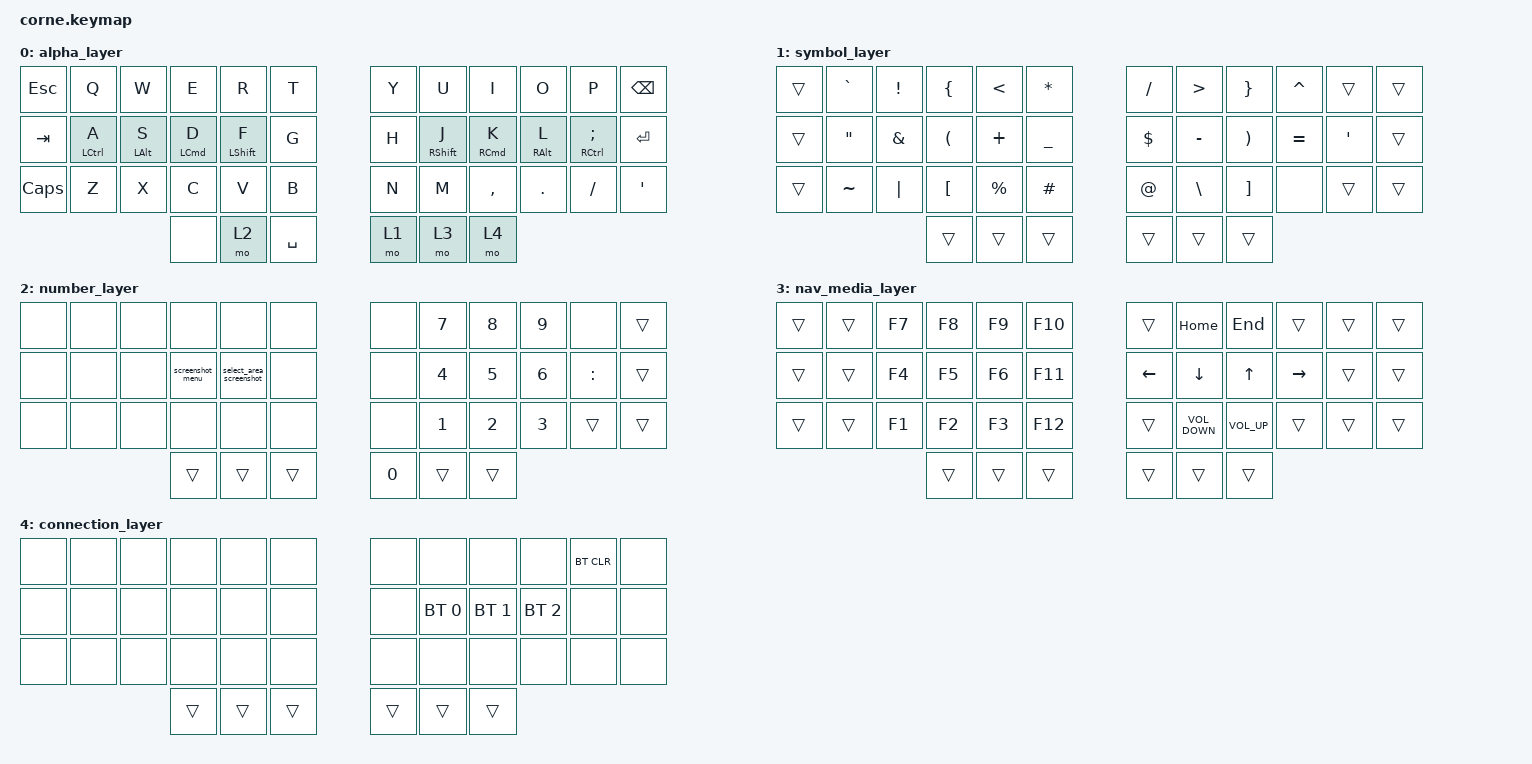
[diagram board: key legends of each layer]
/*
 * Copyright (c) 2020 The ZMK Contributors
 *
 * SPDX-License-Identifier: MIT
 */

#include <behaviors.dtsi>
#include <dt-bindings/zmk/bt.h>
#include <dt-bindings/zmk/keys.h>

#define ALPHA 0
#define SYMBOL 1
#define NUMBER 2
#define NAV 3
#define CONNECT 4

// corne keymap has 6 columns, the last column is optional and is not present on my keyboard
// each row starts with a &none and ends with a &none to reflect the fact that these columns do not exist

/ {
    behaviors {
        HMR: HMR {
            compatible = "zmk,behavior-hold-tap";
            label = "HMR";
            bindings = <&kp>, <&kp>;

            #binding-cells = <2>;
            hold-trigger-key-positions = <0 1 2 3 4 5 12 13 14 15 16 17 24 25 26 27 28 29 36 37 38 39 40 41>;
            hold-trigger-on-release;
            tapping-term-ms = <180>;
            quick-tap-ms = <130>;
            flavor = "balanced";
        };

        HML: HML {
            compatible = "zmk,behavior-hold-tap";
            label = "HML";
            bindings = <&kp>, <&kp>;

            #binding-cells = <2>;
            tapping-term-ms = <180>;
            quick-tap-ms = <130>;
            flavor = "balanced";
            hold-trigger-on-release;
            hold-trigger-key-positions = <6 7 8 9 10 11 18 19 20 21 22 23 30 31 32 33 34 35 39 40 41 36 37 38>;
        };
    };

    macros {
        select_area_screenshot: select_area_screenshot {
            compatible = "zmk,behavior-macro";
            #binding-cells = <0>;
            bindings =
                <&macro_press>,
                <&kp LEFT_COMMAND>,
                <&macro_press>,
                <&kp LEFT_SHIFT>,
                <&macro_tap>,
                <&kp NUMBER_4>,
                <&macro_release>,
                <&kp LEFT_SHIFT>,
                <&macro_release>,
                <&kp LEFT_COMMAND>;

            label = "SELECT_AREA_SCREENSHOT";
        };

        screenshot_menu: screenshot_menu {
            compatible = "zmk,behavior-macro";
            #binding-cells = <0>;
            bindings =
                <&macro_press>,
                <&kp LEFT_COMMAND>,
                <&macro_press>,
                <&kp LEFT_SHIFT>,
                <&macro_tap>,
                <&kp N5>,
                <&macro_release>,
                <&kp LEFT_SHIFT>,
                <&macro_release>,
                <&kp LEFT_COMMAND>;

            label = "SCREENSHOT_MENU";
        };
    };

    keymap {
        compatible = "zmk,keymap";

        alpha_layer {
            // ---------------------------------------------------------------------------------------------------------
            // |  Q  |  W  |  F  |  P  |  B  |                                           |  J  |  L  |  U  |  Y  | BSP |
            // |  A  |  R  |  S  |  T  |  G  |                                           |  M  |  N  |  E  |  I  |  O  |
            // |  Z  |  X  |  C  |  D  |  V  |                                           |  K  |  H  |  ,  |  .  | ENT |
            //                 |-----| SHIFT | NAVIGATION |                     | SYMBOL | SPACE |-----|
            // ---------------------------------------------------------------------------------------------------------

            bindings = <
&kp ESCAPE    &kp Q                &kp W            &kp E                &kp R              &kp T        &kp Y  &kp U               &kp I                 &kp O             &kp P                         &kp BACKSPACE
&kp TAB       &HML LEFT_CONTROL A  &HML LEFT_ALT S  &HML LEFT_COMMAND D  &HML LEFT_SHIFT F  &kp G        &kp H  &HMR RIGHT_SHIFT J  &HMR RIGHT_COMMAND K  &HMR RIGHT_ALT L  &HMR RIGHT_CONTROL SEMICOLON  &kp ENTER
&kp CAPSLOCK  &kp Z                &kp X            &kp C                &kp V              &kp B        &kp N  &kp M               &kp COMMA             &kp DOT           &kp SLASH                     &kp SINGLE_QUOTE
                                                    &none                &mo 2              &kp SPACE    &mo 1  &mo 3               &mo 4
            >;
        };

        symbol_layer {
            // ---------------------------------------------------------------------------------------------------------
            // | ESC | TAB |  `  |  <  |-----|                                           |-----|  ^  |  $  |  *  | BSP |
            // | SHF | CTR |  '  |  (  |  {  |                                           |  :  |  /  |  =  |  -  |  ~  |
            // | HYP |-----|-----|  [  |-----|                                           |-----|  _  |-----|-----|     |
            //                   |     |     |     |                               |     |     |     |
            // ---------------------------------------------------------------------------------------------------------

            bindings = <
&trans  &kp GRAVE          &kp EXCL  &kp LBRC  &kp LESS_THAN  &kp ASTERISK      &kp SLASH    &kp GT         &kp RBRC  &kp CARET  &trans            &trans
&trans  &kp DOUBLE_QUOTES  &kp AMPS  &kp LPAR  &kp PLUS       &kp UNDERSCORE    &kp DOLLAR   &kp MINUS      &kp RPAR  &kp EQUAL  &kp SINGLE_QUOTE  &trans
&trans  &kp TILDE          &kp PIPE  &kp LBKT  &kp PERCENT    &kp HASH          &kp AT_SIGN  &kp BACKSLASH  &kp RBKT  &none      &trans            &trans
                                     &trans    &trans         &trans            &trans       &trans         &trans
            >;
        };

        number_layer {
            // ---------------------------------------------------------------------------------------------------------
            // | F12 | F07 | F08 | F09 | PSC |                                           |-----|  7  |  8  |  9  | BSP |
            // | F11 | F04 | F05 | F06 |-----|                                           |-----|  4  |  5  |  6  |  0  |
            // | F10 | F01 | F02 | F03 |-----|                                           |-----|  1  |  2  |  3  |     |
            //                   |     |     |     |                               |     |     |     |
            // ---------------------------------------------------------------------------------------------------------

            bindings = <
&none  &none  &none  &none             &none                    &none     &none   &kp N7  &kp N8  &kp N9  &none      &trans
&none  &none  &none  &screenshot_menu  &select_area_screenshot  &none     &none   &kp N4  &kp N5  &kp N6  &kp COLON  &trans
&none  &none  &none  &none             &none                    &none     &none   &kp N1  &kp N2  &kp N3  &trans     &trans
                     &trans            &trans                   &trans    &kp N0  &trans  &trans
            >;
        };

        nav_media_layer {
            bindings = <
&trans  &trans  &kp F7  &kp F8  &kp F9  &kp F10    &trans    &kp HOME           &kp END          &trans           &trans  &trans
&trans  &trans  &kp F4  &kp F5  &kp F6  &kp F11    &kp LEFT  &kp DOWN_ARROW     &kp UP_ARROW     &kp RIGHT_ARROW  &trans  &trans
&trans  &trans  &kp F1  &kp F2  &kp F3  &kp F12    &trans    &kp C_VOLUME_DOWN  &kp C_VOLUME_UP  &trans           &trans  &trans
                        &trans  &trans  &trans     &trans    &trans             &trans
            >;
        };

        connection_layer {
            // ---------------------------------------------------------------------------------------------------------
            // |-----|-----|-----|-----|-----|                                           |-----|-----|-----|-----| CLR |
            // |-----|-----|-----|-----|-----|                                           |-----| PF4 | PF5 | PF6 |-----|
            // |-----|-----|-----|-----|-----|                                           |-----| PF1 | PF2 | PF3 |-----|
            //                   |     |     |     |                               |     |     |     |
            // ---------------------------------------------------------------------------------------------------------

            bindings = <
&none  &none  &none  &none   &none   &none     &none   &none         &none         &none         &bt BT_CLR  &none
&none  &none  &none  &none   &none   &none     &none   &bt BT_SEL 0  &bt BT_SEL 1  &bt BT_SEL 2  &none       &none
&none  &none  &none  &none   &none   &none     &none   &none         &none         &none         &none       &none
                     &trans  &trans  &trans    &trans  &trans        &trans
            >;
        };
    };
};
